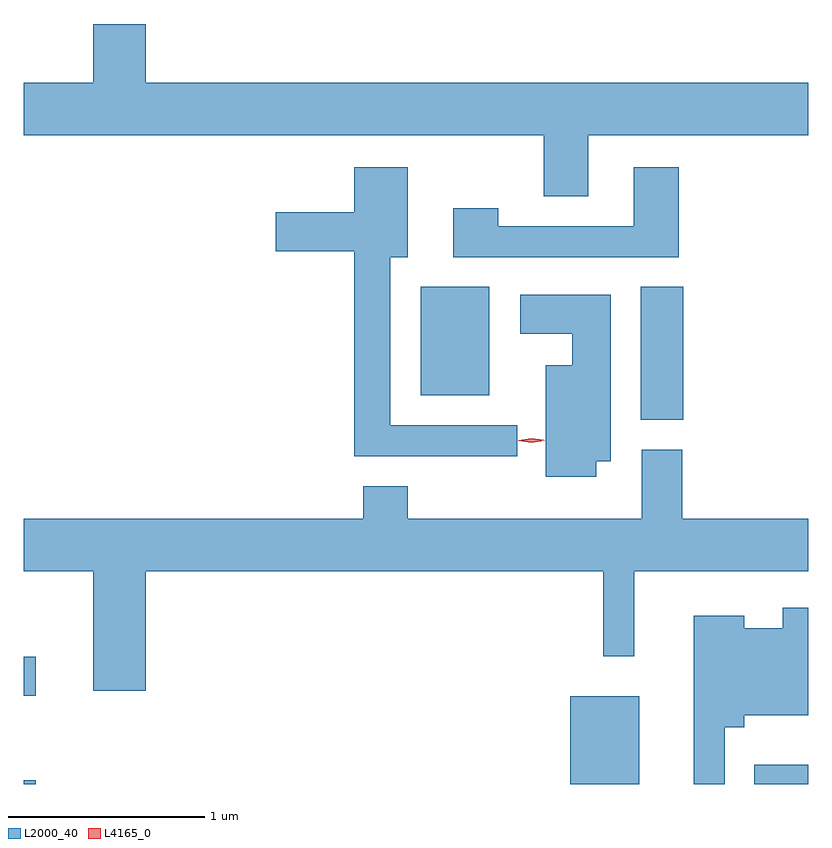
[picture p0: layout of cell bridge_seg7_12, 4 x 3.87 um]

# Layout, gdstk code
import gdstk
lib = gdstk.Library(unit=1e-6, precision=1e-09)
def R(c, l, rs):  # rectangles x0, y0, x1, y1
    for r in rs: c.add(gdstk.rectangle(r[:2], r[2:], *l))
def P(c, l, *ps):  # polygons
    for p in ps: c.add(gdstk.Polygon(p, *l))
L2000_40 = (2000, 40)
L4165_0 = (4165, 0)

bridge_seg7_12 = lib.new_cell('bridge_seg7_12')
R(bridge_seg7_12, L2000_40, [(1693.241,1739.871,1693.304,1739.889), (1696.026,1739.871,1696.379,1740.319), (1696.966,1739.871,1697.241,1739.969), (1693.241,1740.321,1693.304,1740.519), (1696.386,1741.726,1696.604,1742.404), (1695.266,1741.851,1695.614,1742.404)])
P(bridge_seg7_12, L2000_40, [(1693.596,1743.744),(1693.596,1743.444),(1693.241,1743.444),(1693.241,1743.176),(1695.891,1743.176),(1695.891,1742.866),(1696.119,1742.866),(1696.119,1743.176),(1697.241,1743.176),(1697.241,1743.444),(1693.864,1743.444),(1693.864,1743.744)],
  [(1696.579,1743.014),(1696.351,1743.014),(1696.351,1742.714),(1695.659,1742.714),(1695.659,1742.804),(1695.431,1742.804),(1695.431,1742.556),(1696.579,1742.556)],
  [(1695.758,1741.699),(1695.109,1741.699),(1695.109,1742.556),(1695.199,1742.556),(1695.199,1743.014),(1694.926,1743.014),(1694.926,1742.784),(1694.526,1742.784),(1694.526,1742.586),(1694.926,1742.586),(1694.926,1741.541),(1695.758,1741.541)],
  [(1696.159,1741.516),(1696.234,1741.516),(1696.234,1742.364),(1695.771,1742.364),(1695.771,1742.166),(1696.036,1742.166),(1696.036,1742.004),(1695.901,1742.004),(1695.901,1741.436),(1696.159,1741.436)],
  [(1693.864,1740.956),(1696.196,1740.956),(1696.196,1740.523),(1696.354,1740.523),(1696.354,1740.956),(1697.241,1740.956),(1697.241,1741.224),(1696.599,1741.224),(1696.599,1741.574),(1696.391,1741.574),(1696.391,1741.224),(1695.199,1741.224),(1695.199,1741.389),(1694.971,1741.389),(1694.971,1741.224),(1693.241,1741.224),(1693.241,1740.956),(1693.596,1740.956),(1693.596,1740.346),(1693.864,1740.346)],
  [(1696.814,1740.161),(1696.914,1740.161),(1696.914,1740.221),(1697.241,1740.221),(1697.241,1740.768),(1697.111,1740.768),(1697.111,1740.664),(1696.914,1740.664),(1696.914,1740.729),(1696.656,1740.729),(1696.656,1739.871),(1696.814,1739.871)])
P(bridge_seg7_12, L4165_0, [(1695.828,1741.61),(1695.761,1741.619),(1695.76,1741.62),(1695.761,1741.62),(1695.828,1741.63),(1695.896,1741.62),(1695.896,1741.62),(1695.896,1741.619)],
  [(1695.828,1741.614),(1695.764,1741.622),(1695.764,1741.623),(1695.764,1741.624),(1695.828,1741.634),(1695.891,1741.626),(1695.891,1741.626),(1695.891,1741.626)])

lib.write_gds('bridge_seg7_12.gds')
